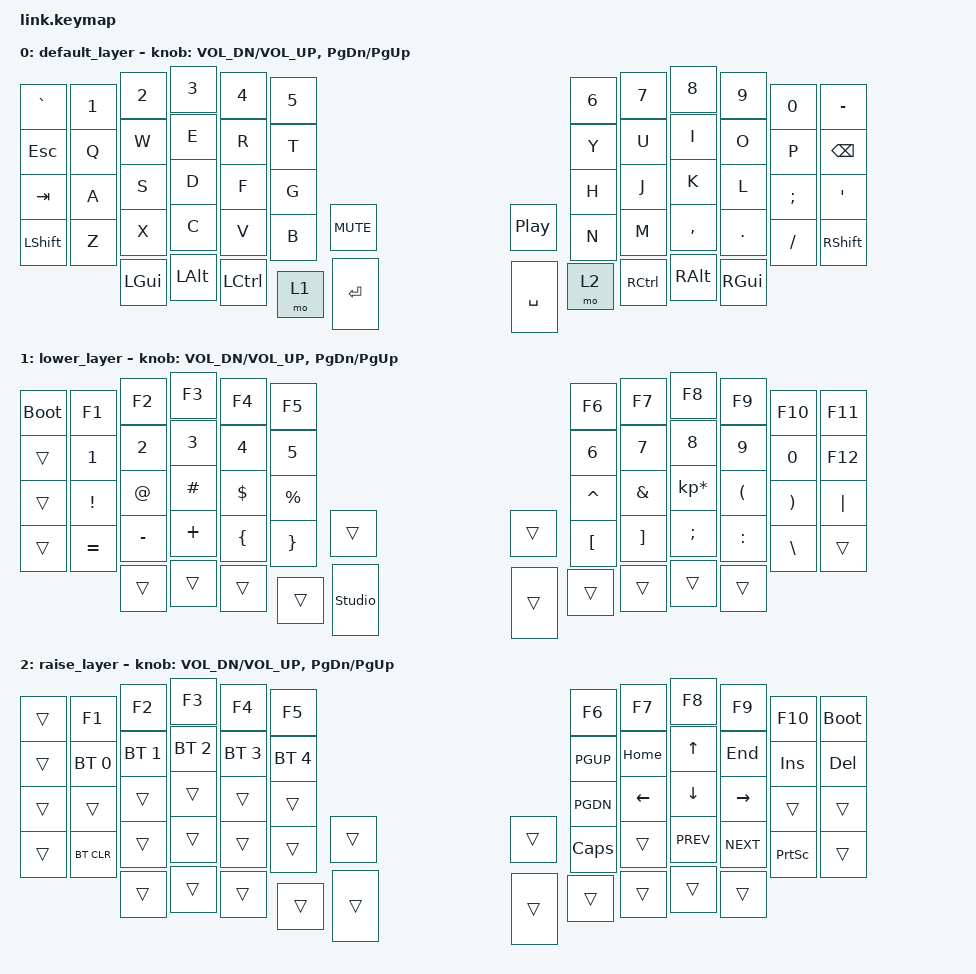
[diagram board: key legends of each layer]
/*
 * Copyright (c) 2020 The ZMK Contributors
 *
 * SPDX-License-Identifier: MIT
 */

#include <behaviors.dtsi>
#include <dt-bindings/zmk/keys.h>
#include <dt-bindings/zmk/bt.h>

/ {
    keymap {
        compatible = "zmk,keymap";

        default_layer {
// ------------------------------------------------------------------------------------------------------------
// |  `    |  1  |  2  |  3   |  4   |  5   |                   |  6   |  7    |  8    |  9   |   0   |   -   |
// |  ESC  |  Q  |  W  |  E   |  R   |  T   |                   |  Y   |  U    |  I    |  O   |   P   | BKSPC |
// |  TAB  |  A  |  S  |  D   |  F   |  G   |                   |  H   |  J    |  K    |  L   |   ;   |  '    |
// | SHIFT |  Z  |  X  |  C   |  V   |  B   |  MUTE  |  | PLAY  |  N   |  M    |  ,    |  .   |   /   | SHIFT |
//               | LGUI| ALT  | LCTL | LOWER| ENTER  |  | SPACE | RAISE|  RCTL |  RALT | RGUI |
            bindings = <
&kp GRAVE     &kp N1 &kp N2    &kp N3    &kp N4         &kp N5                           &kp N6  &kp N7       &kp N8    &kp N9   &kp N0   &kp MINUS
&kp ESC       &kp Q  &kp W     &kp E     &kp R          &kp T                            &kp Y   &kp U        &kp I     &kp O    &kp P    &kp BSPC
&kp TAB       &kp A  &kp S     &kp D     &kp F          &kp G                            &kp H   &kp J        &kp K     &kp L    &kp SEMI &kp APOS
&kp LSHFT     &kp Z  &kp X     &kp C     &kp V          &kp B     &kp C_MUTE  &kp C_PP   &kp N   &kp M        &kp COMMA &kp DOT  &kp FSLH &kp RSHFT
                     &kp LGUI  &kp LALT  &kp LCTRL      &mo 1     &kp RET     &kp SPACE  &mo 2   &kp RCTRL    &kp RALT  &kp RGUI
            >;

            sensor-bindings = <&inc_dec_kp C_VOL_DN C_VOL_UP &inc_dec_kp PG_DN PG_UP>;
        };

        lower_layer {
// ------------------------------------------------------------------------------------------------------------
// | BLOAD |  F1 |  F2 |  F3  |  F4  |  F5  |                   |  F6  |  F7   |  F8   |  F9  |  F10  |  F11  |
// |       |   1 |   2 |   3  |   4  |   5  |                   |   6  |   7   |   8   |   9  |    0  |  F12  |
// |       |  !  |  @  |  #   |  $   |  %   |                   |  ^   |  &    |  *    |  (   |   )   |   |   |
// |       |  =  |  -  |  +   |  {   |  }   |        |  |       |  [   |  ]    |  .    |  :   |   \   |       |
//               |     |      |      |      |ST.ULOCK|  |       |      |       |       |      |
            bindings = <
&bootloader &kp F1    &kp F2    &kp F3   &kp F4    &kp F5                           &kp F6    &kp F7   &kp F8          &kp F9    &kp F10   &kp F11
&trans      &kp N1    &kp N2    &kp N3   &kp N4    &kp N5                           &kp N6    &kp N7   &kp N8          &kp N9    &kp N0    &kp F12
&trans      &kp EXCL  &kp AT    &kp HASH &kp DLLR  &kp PRCNT                        &kp CARET &kp AMPS &kp KP_MULTIPLY &kp LPAR  &kp RPAR  &kp PIPE
&trans      &kp EQUAL &kp MINUS &kp PLUS &kp LBRC  &kp RBRC  &trans          &trans &kp LBKT  &kp RBKT &kp SEMI        &kp COLON &kp BSLH  &trans
                      &trans    &trans   &trans    &trans    &studio_unlock  &trans &trans    &trans   &trans          &trans
            >;

            sensor-bindings = <&inc_dec_kp C_VOL_DN C_VOL_UP &inc_dec_kp PG_DN PG_UP>;
        };

        raise_layer {
// ------------------------------------------------------------------------------------------------------------
// |     |  F1  |  F2  |  F3   |  F4   |  F5  |                |  F6  |  F7  |  F8   |  F9  |  F10  | BLOAD |
// |     | BT1  | BT2  |  BT3  |  BT4  |  BT5 |                | PGUP | HOME |   ^   | END  |  INS  |  DEL  |
// |     |      |      |       |       |      |                | PGDN |   <- |   v   | ->   |       |       |
// |     |BTCLR |      |       |       |      |      |  |      | CAPS |      |  PREV | NEXT |  PSCR |       |
//              |      |       |       |      |      |  |      |      |      |       |      |
            bindings = <
&trans &kp F1          &kp F2          &kp F3          &kp F4          &kp F5                      &kp F6     &kp F7     &kp F8       &kp F9      &kp F10   &bootloader
&trans &bt BT_SEL 0    &bt BT_SEL 1    &bt BT_SEL 2    &bt BT_SEL 3    &bt BT_SEL 4                &kp PGUP   &kp HOME   &kp UP       &kp END     &kp INS   &kp DEL
&trans &trans          &trans          &trans          &trans          &trans                      &kp PGDN   &kp LEFT   &kp DOWN     &kp RIGHT   &trans    &trans
&trans &bt BT_CLR      &trans          &trans          &trans          &trans       &trans  &trans &kp CAPS   &trans     &kp C_PREV   &kp C_NEXT  &kp PSCRN &trans
                       &trans          &trans          &trans          &trans       &trans  &trans &trans     &trans     &trans       &trans
            >;

            sensor-bindings = <&inc_dec_kp C_VOL_DN C_VOL_UP &inc_dec_kp PG_DN PG_UP>;
        };

        extra1 {
            status = "reserved";

            bindings = <
&trans &trans &trans &trans &trans &trans &trans &trans &trans &trans &trans &trans
&trans &trans &trans &trans &trans &trans &trans &trans &trans &trans &trans &trans
&trans &trans &trans &trans &trans &trans &trans &trans &trans &trans &trans &trans
&trans &trans &trans &trans &trans &trans &trans &trans &trans &trans &trans &trans
              &trans &trans &trans &trans &trans &trans &trans &trans
            >;

            sensor-bindings = <&inc_dec_kp C_VOL_DN C_VOL_UP &inc_dec_kp PG_DN PG_UP>;
        };

        extra2 {
            status = "reserved";

            bindings = <
&trans &trans &trans &trans &trans &trans &trans &trans &trans &trans &trans &trans
&trans &trans &trans &trans &trans &trans &trans &trans &trans &trans &trans &trans
&trans &trans &trans &trans &trans &trans &trans &trans &trans &trans &trans &trans
&trans &trans &trans &trans &trans &trans &trans &trans &trans &trans &trans &trans
              &trans &trans &trans &trans &trans &trans &trans &trans
            >;

            sensor-bindings = <&inc_dec_kp C_VOL_DN C_VOL_UP &inc_dec_kp PG_DN PG_UP>;
        };

        extra3 {
            status = "reserved";

            bindings = <
&trans &trans &trans &trans &trans &trans &trans &trans &trans &trans &trans &trans
&trans &trans &trans &trans &trans &trans &trans &trans &trans &trans &trans &trans
&trans &trans &trans &trans &trans &trans &trans &trans &trans &trans &trans &trans
&trans &trans &trans &trans &trans &trans &trans &trans &trans &trans &trans &trans
              &trans &trans &trans &trans &trans &trans &trans &trans
            >;

            sensor-bindings = <&inc_dec_kp C_VOL_DN C_VOL_UP &inc_dec_kp PG_DN PG_UP>;
        };

        extra4 {
            status = "reserved";

            bindings = <
&trans &trans &trans &trans &trans &trans &trans &trans &trans &trans &trans &trans
&trans &trans &trans &trans &trans &trans &trans &trans &trans &trans &trans &trans
&trans &trans &trans &trans &trans &trans &trans &trans &trans &trans &trans &trans
&trans &trans &trans &trans &trans &trans &trans &trans &trans &trans &trans &trans
              &trans &trans &trans &trans &trans &trans &trans &trans
            >;

            sensor-bindings = <&inc_dec_kp C_VOL_DN C_VOL_UP &inc_dec_kp PG_DN PG_UP>;
        };

        extra5 {
            status = "reserved";

            bindings = <
&trans &trans &trans &trans &trans &trans &trans &trans &trans &trans &trans &trans
&trans &trans &trans &trans &trans &trans &trans &trans &trans &trans &trans &trans
&trans &trans &trans &trans &trans &trans &trans &trans &trans &trans &trans &trans
&trans &trans &trans &trans &trans &trans &trans &trans &trans &trans &trans &trans
              &trans &trans &trans &trans &trans &trans &trans &trans
            >;

            sensor-bindings = <&inc_dec_kp C_VOL_DN C_VOL_UP &inc_dec_kp PG_DN PG_UP>;
        };

        extra6 {
            status = "reserved";

            bindings = <
&trans &trans &trans &trans &trans &trans &trans &trans &trans &trans &trans &trans
&trans &trans &trans &trans &trans &trans &trans &trans &trans &trans &trans &trans
&trans &trans &trans &trans &trans &trans &trans &trans &trans &trans &trans &trans
&trans &trans &trans &trans &trans &trans &trans &trans &trans &trans &trans &trans
              &trans &trans &trans &trans &trans &trans &trans &trans
            >;

            sensor-bindings = <&inc_dec_kp C_VOL_DN C_VOL_UP &inc_dec_kp PG_DN PG_UP>;
        };

        extra7 {
            status = "reserved";

            bindings = <
&trans &trans &trans &trans &trans &trans &trans &trans &trans &trans &trans &trans
&trans &trans &trans &trans &trans &trans &trans &trans &trans &trans &trans &trans
&trans &trans &trans &trans &trans &trans &trans &trans &trans &trans &trans &trans
&trans &trans &trans &trans &trans &trans &trans &trans &trans &trans &trans &trans
              &trans &trans &trans &trans &trans &trans &trans &trans
            >;

            sensor-bindings = <&inc_dec_kp C_VOL_DN C_VOL_UP &inc_dec_kp PG_DN PG_UP>;
        };
    };
};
